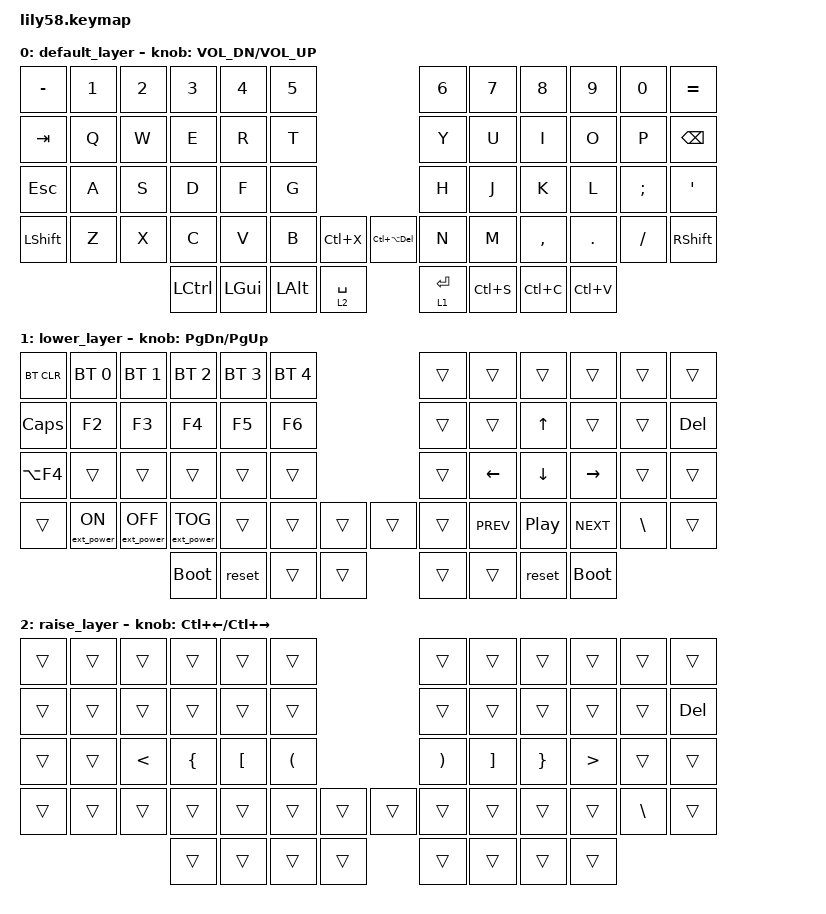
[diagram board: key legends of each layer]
/*
 * Copyright (c) 2020 The ZMK Contributors
 *
 * SPDX-License-Identifier: MIT
 */

#include <behaviors.dtsi>
#include <dt-bindings/zmk/keys.h>
#include <dt-bindings/zmk/bt.h>
#include <dt-bindings/zmk/ext_power.h>

/ {
	keymap {
		compatible = "zmk,keymap";

		default_layer {
// ------------------------------------------------------------------------------------------------------------
// |  MINUS | 1  |  2  |  3   |  4   |  5   |                   |  6   |  7    |  8    |  9   |   0   | EQUAL |
// |  TAB   | Q  |  W  |  E   |  R   |  T   |                   |  Y   |  U    |  I    |  O   |   P   | BSPC  |
// |  ESC   | A  |  S  |  D   |  F   |  G   |                   |  H   |  J    |  K    |  L   |   ;   |   '   |
// | SHIFT  | Z  |  X  |  C   |  V   |  B   |   CUT  |  |  CTLALTDEL  |  N   |  M    |  ,    |  .   |   /   | SHIFT |
//                     | LCTRL  | LALT  | LOWER |  SPACE |  | ENTER | RAISE |   | GUI   |
			bindings = <
&kp MINUS &kp N1 &kp N2 &kp N3 &kp N4 &kp N5                     &kp N6 &kp N7 &kp N8 &kp N9  &kp N0 &kp EQUAL
&kp TAB   &kp Q  &kp W  &kp E  &kp R  &kp T                      &kp Y  &kp U    &kp I     &kp O   &kp P  &kp BSPC
&kp ESC   &kp A  &kp S  &kp D  &kp F  &kp G                      &kp H  &kp J    &kp K     &kp L   &kp SEMI &kp SQT
&kp LSHFT &kp Z  &kp X  &kp C  &kp V  &kp B  &kp LC(X) &kp LC(LA(DEL)) &kp N  &kp M    &kp COMMA &kp DOT &kp FSLH &kp RSHFT
                        &kp LCTRL &kp LGUI &kp LALT  &lt 2 SPACE  &lt 1 RET  &kp LC(S) &kp LC(C) &kp LC(V)
			>;

			sensor-bindings = <&inc_dec_kp C_VOL_DN C_VOL_UP>;
		};

		lower_layer {
// ------------------------------------------------------------------------------------------------------------
// | BTCLR | BT1 | BT2 |  BT3 |  BT4 |  BT5 |                   |      |       |      |      |       |       |
// | CAPS  |  F2 |  F3 |  F4  |  F5  |  F6  |                   |  F7  |  F8   |  UP  |  F10 |  F11  |  F12  |
// |   `   |  !  |  @  |  #   |  $   |  %   |                   |  ^   | LEFT  | DOWN | RIGHT |   )   |   ~   |
// |       |     |     |      |      |      |        |  |       |      | PREV  | PLAY | NEXT  |   }   |  "|"  |
//                     | bootloader | reset |      |        |  |       |      | reset | bootloader |
			bindings = <
&bt BT_CLR &bt BT_SEL 0     &bt BT_SEL 1      &bt BT_SEL 2      &bt BT_SEL 3 &bt BT_SEL 4                 &trans &trans     &trans   &trans     &trans   &trans
&kp CAPS     &kp F2           &kp F3            &kp F4            &kp F5       &kp F6                       &trans &trans     &kp UP   &trans     &trans   &kp DEL
&kp LA(F4)   &trans           &trans            &trans            &trans       &trans                       &trans &kp LEFT   &kp DOWN &kp RIGHT  &trans   &trans
&trans     &ext_power EP_ON &ext_power EP_OFF &ext_power EP_TOG &trans       &trans    &trans   &trans    &trans &kp C_PREV &kp C_PP &kp C_NEXT &kp BSLH &trans
                                              &bootloader        &reset       &trans    &trans   &trans    &trans &reset   &bootloader
			>;

			sensor-bindings = <&inc_dec_kp PG_DN PG_UP>;
		};

		raise_layer {
// ------------------------------------------------------------------------------------------------------------
// |       |     |     |      |      |      |                   |      |       |       |      |       |       |
// |   `   |  1  |  2  |  3   |  4   |  5   |                   |  6   |   7   |   8   |  9   |   0   |       |
// |   F1  |  F2 |  F3 |  F4  |  F5  |  F6  |                   |      |   <-  |   v   |  ^   |  ->   |       |
// |   F7  |  F8 |  F9 |  F10 |  F11 |  F12 |        |  |       |  +   |   -   |   =   |  [   |   ]   |   \   |
//                     |      |      |      |        |  |       |      |       |       |
			bindings = <
&trans  &trans &trans &trans &trans &trans                        &trans  &trans &trans &trans &trans &trans   
&trans  &trans &trans &trans &trans &trans                        &trans  &trans &trans &trans &trans &kp DEL   
&trans  &trans &kp LT &kp LBRC &kp LBKT &kp LPAR                  &kp RPAR &kp RBKT &kp RBRC &kp GT &trans &trans   
&trans  &trans &trans &trans &trans &trans     &trans   &trans    &trans  &trans &trans &trans &kp BSLH &trans   
                      &trans &trans &trans     &trans   &trans    &trans  &trans &trans
			>;

			sensor-bindings = <&inc_dec_kp LC(LEFT) LC(RIGHT)>;
		};
	};
};
